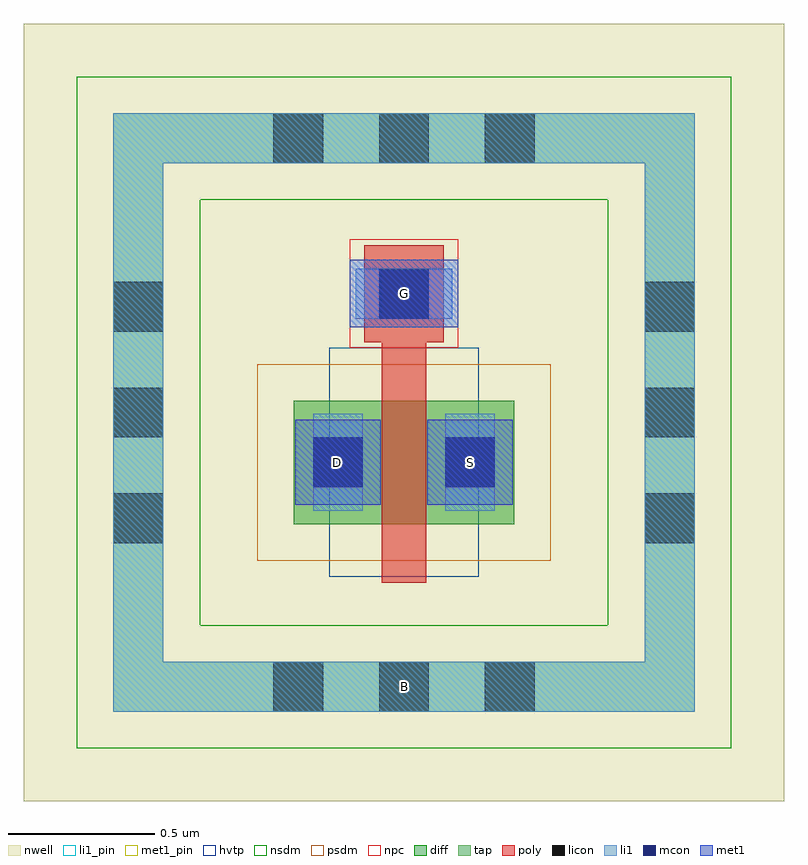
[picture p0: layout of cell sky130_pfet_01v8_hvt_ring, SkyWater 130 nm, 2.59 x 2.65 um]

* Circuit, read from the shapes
.subckt sky130_pfet_01v8_hvt_ring B D G S
XM1 S G D B sky130_fd_pr__pfet_01v8_hvt w=0.42 l=0.15
.ends

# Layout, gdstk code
import gdstk
lib = gdstk.Library(unit=1e-6, precision=1e-09)
def R(c, l, rs):  # rectangles x0, y0, x1, y1
    for r in rs: c.add(gdstk.rectangle(r[:2], r[2:], *l))
def A(c, l, x, y, w, h, nx, ny, dx, dy):  # array of equal rectangles
    R(c, l, [(x+i*dx, y+j*dy, x+i*dx+w, y+j*dy+h) for i in range(nx) for j in range(ny)])
def P(c, l, *ps):  # polygons
    for p in ps: c.add(gdstk.Polygon(p, *l))
nwell = (64, 20)
diff = (65, 20)
tap = (65, 44)
poly = (66, 20)
licon = (66, 44)
li1_pin = (67, 16)
li1 = (67, 20)
mcon = (67, 44)
met1_pin = (68, 16)
met1 = (68, 20)
hvtp = (78, 44)
nsdm = (93, 44)
psdm = (94, 20)
npc = (95, 20)

pfet = lib.new_cell('pfet')
R(pfet, nwell, [(-0.92,-0.945,1.67,1.705)])
R(pfet, diff, [(0,0,0.75,0.42)])
P(pfet, tap, [(-0.615,-0.64),(-0.615,1.23),(-0.445,1.23),(-0.445,-0.47),(1.195,-0.47),(1.195,1.23),(-0.615,1.23),(-0.615,1.4),(1.365,1.4),(1.365,-0.64)])
R(pfet, poly, [(0.3,-0.2,0.45,0.62), (0.24,0.62,0.51,0.95)])
A(pfet, licon, -0.07, -0.64, 0.17, 0.17, 3, 2, 0.36, 1.87)
A(pfet, licon, -0.615, -0.065, 0.17, 0.17, 1, 3, 0, 0.36)
A(pfet, licon, 1.195, -0.065, 0.17, 0.17, 1, 3, 0, 0.36)
R(pfet, licon, [(0.065,0.125,0.235,0.295), (0.515,0.125,0.685,0.295), (0.29,0.7,0.46,0.87)])
R(pfet, li1, [(0.065,0.045,0.235,0.375), (0.515,0.045,0.685,0.375), (0.21,0.7,0.54,0.87)])
P(pfet, li1, [(-0.615,-0.64),(-0.615,1.23),(-0.445,1.23),(-0.445,-0.47),(1.195,-0.47),(1.195,1.23),(-0.615,1.23),(-0.615,1.4),(1.365,1.4),(1.365,-0.64)])
R(pfet, mcon, [(0.065,0.125,0.235,0.295), (0.515,0.125,0.685,0.295), (0.29,0.7,0.46,0.87)])
R(pfet, met1, [(0.005,0.065,0.295,0.355), (0.455,0.065,0.745,0.355), (0.19,0.67,0.56,0.9)])
R(pfet, hvtp, [(0.12,-0.18,0.63,0.6)])
P(pfet, nsdm, [(-0.74,-0.765),(-0.74,1.105),(-0.32,1.105),(-0.32,-0.345),(1.07,-0.345),(1.07,1.105),(-0.74,1.105),(-0.74,1.525),(1.49,1.525),(1.49,-0.765)])
R(pfet, psdm, [(-0.125,-0.125,0.875,0.545)])
R(pfet, npc, [(0.23,0.61,0.52,0.96)])

sky130_pfet_01v8_hvt_rin = lib.new_cell('sky130_pfet_01v8_hvt_ring')
R(sky130_pfet_01v8_hvt_rin, li1_pin, [(0.29,-0.64,0.46,-0.47)])
R(sky130_pfet_01v8_hvt_rin, met1_pin, [(0.065,0.125,0.235,0.295), (0.515,0.125,0.685,0.295), (0.29,0.7,0.46,0.87)])
R(sky130_pfet_01v8_hvt_rin, npc, [(0.19,0.6,0.56,0.97)])
sky130_pfet_01v8_hvt_rin.add(gdstk.Reference(pfet, (0,0)))
sky130_pfet_01v8_hvt_rin.add(gdstk.Label('D', (0.15,0.21), layer=68, texttype=5))
sky130_pfet_01v8_hvt_rin.add(gdstk.Label('S', (0.6,0.21), layer=68, texttype=5))
sky130_pfet_01v8_hvt_rin.add(gdstk.Label('G', (0.375,0.785), layer=68, texttype=5))
sky130_pfet_01v8_hvt_rin.add(gdstk.Label('B', (0.375,-0.555), layer=67, texttype=5))

lib.write_gds('sky130_pfet_01v8_hvt_ring.gds')
